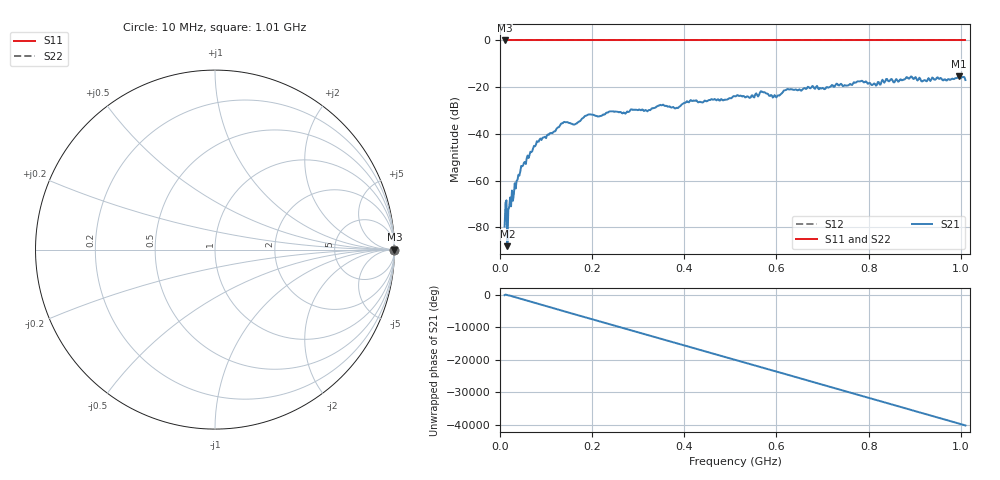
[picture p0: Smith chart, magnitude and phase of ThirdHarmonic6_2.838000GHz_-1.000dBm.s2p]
! 8/17/2025 7:36:35 AM
! C:\ANRITSUVNA\TEMP\TEMP.S2P
! CHANNEL.1
! TR.MEASUREMENT
! RAW.DATA
! RF.CORRECTION.OFF
! AVERAGING.OFF
! IF.BANDWIDTH: 5KHZ
! SWEEPTYPE:  FREQ.SWEEP(Linear)
! Reference Plane Port Info
! PORT:  PORT1  PORT2
! DISTANCE:  0  m  0  m
! TIME:  0  s  0  s
! PHASE.OFFSET:  0  deg.  0  deg.
! LOSS:  0  dB  0  dB
! REF.LOSS:  0  dB  0  dB
! REF.FREQ:  0  Hz  0  Hz
! Power Info
! POWER:  -20  dBm  -20  dBm
! EFF.POWER:  -20  dBm  -20  dBm
! SOURCE.ATTEN:  0  dB  0  dB
! TEST.ATTEN:  0  dB  0  dB
# GHZ S RI R 50.0
! FREQ.GHZ  S11RE  S11IM  S21RE  S21IM  S12RE  S12IM  S22RE  S22IM
!; PortSelection: Port_12
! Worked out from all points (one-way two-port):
!   501 points, 10 MHz to 1.01 GHz, reference 50 ohm
!   highest |S21| = -15.36 dB at 996 MHz (marker M1); lowest = -88.0 dB at 16 MHz (marker M2)
!   lowest |S11| = 0.0 dB at 10 MHz (marker M3)
!   |S11| at or under -10 dB: nowhere
!   |S22| runs from 0.0 to 0.0 dB; largest |S21 - S12| = 1.2
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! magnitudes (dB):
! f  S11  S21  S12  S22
! 10 MHz  0.0  -79.6  0.0  0.0
! 16 MHz  0.0  -88.0  0.0  0.0
! 20 MHz  0.0  -71.3  0.0  0.0
! 22 MHz  0.0  -67.2  0.0  0.0
! 48 MHz  0.0  -53.9  0.0  0.0
! 84 MHz  0.0  -43.3  0.0  0.0
! 136 MHz  0.0  -35.4  0.0  0.0
! 162 MHz  0.0  -35.9  0.0  0.0
! 178 MHz  0.0  -33.5  0.0  0.0
! 194 MHz  0.0  -31.6  0.0  0.0
! 344 MHz  0.0  -27.9  0.0  0.0
! 382 MHz  0.0  -28.9  0.0  0.0
! 416 MHz  0.0  -25.8  0.0  0.0
! 510 MHz  0.0  -23.9  0.0  0.0
! 540 MHz  0.0  -24.3  0.0  0.0
! 570 MHz  0.0  -22.1  0.0  0.0
! 596 MHz  0.0  -23.4  0.0  0.0
! 622 MHz  0.0  -21.0  0.0  0.0
! 678 MHz  0.0  -19.5  0.0  0.0
! 844 MHz  0.0  -17.5  0.0  0.0
! 996 MHz  0.0  -15.4  0.0  0.0
! 1.01 GHz  0.0  -16.9  0.0  0.0
